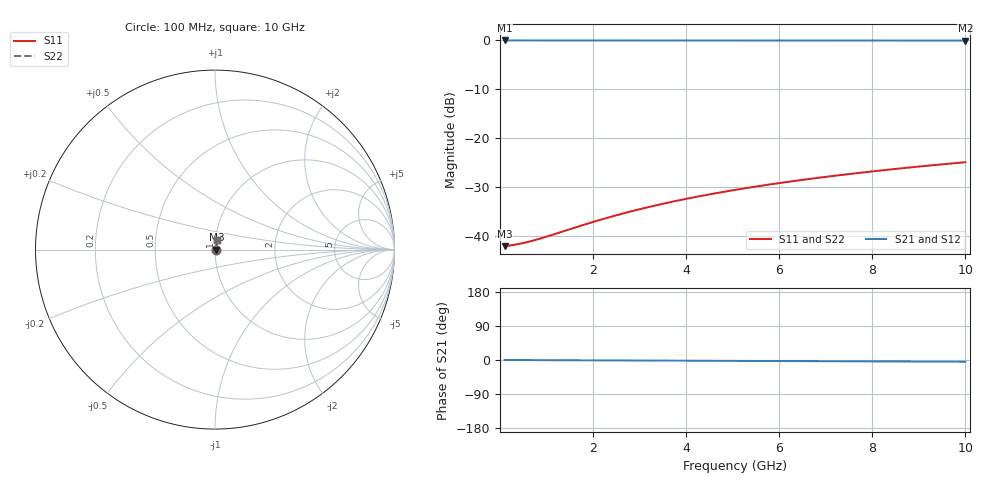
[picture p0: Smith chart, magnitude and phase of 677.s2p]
# Hz S RI R 50.00
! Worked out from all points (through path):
!   100 points, 100 MHz to 10 GHz, reference 50 ohm
!   highest |S21| = -0.07 dB at 100 MHz (marker M1); lowest = -0.1 dB at 10 GHz (marker M2)
!   lowest |S11| = -42.1 dB at 100 MHz (marker M3), VSWR 1.02, Z = 50.8 + j0.0564 ohm
!   |S11| at or under -10 dB: start of sweep to end of sweep
!   |S22| runs from -42.1 to -24.9 dB; largest |S21 - S12| = 0
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1e8  0.00786 0.000556  0.9921 -0.000796  0.9921 -0.000796  0.00786 0.000556
3e8  0.00796 0.00167  0.992 -0.00239  0.992 -0.00239  0.00796 0.00167
4e8  0.00799 0.00222  0.992 -0.00318  0.992 -0.00318  0.00799 0.00222
5e8  0.00802 0.00278  0.992 -0.00398  0.992 -0.00398  0.00802 0.00278
7e8  0.00807 0.00389  0.9919 -0.00557  0.9919 -0.00557  0.00807 0.00389
1e9  0.00815 0.00555  0.9918 -0.00795  0.9918 -0.00795  0.00815 0.00555
1.8e9  0.00834 0.00999  0.9916 -0.0143  0.9916 -0.0143  0.00834 0.00999
2.2e9  0.00845 0.0122  0.9915 -0.0175  0.9915 -0.0175  0.00845 0.0122
2.6e9  0.00857 0.0144  0.9914 -0.0207  0.9914 -0.0207  0.00857 0.0144
3e9  0.0087 0.0166  0.9913 -0.0238  0.9913 -0.0238  0.0087 0.0166
3.4e9  0.00884 0.0189  0.9911 -0.027  0.9911 -0.027  0.00884 0.0189
3.8e9  0.00899 0.0211  0.991 -0.0302  0.991 -0.0302  0.00899 0.0211
4.2e9  0.00916 0.0233  0.9908 -0.0334  0.9908 -0.0334  0.00916 0.0233
4.6e9  0.00934 0.0255  0.9906 -0.0365  0.9906 -0.0365  0.00934 0.0255
5.1e9  0.00958 0.0283  0.9903 -0.0405  0.9903 -0.0405  0.00958 0.0283
5.5e9  0.00979 0.0305  0.9901 -0.0437  0.9901 -0.0437  0.00979 0.0305
5.9e9  0.01 0.0327  0.9899 -0.0468  0.9899 -0.0468  0.01 0.0327
6.7e9  0.0105 0.0371  0.9894 -0.0532  0.9894 -0.0532  0.0105 0.0371
7.5e9  0.011 0.0415  0.9888 -0.0595  0.9888 -0.0595  0.011 0.0415
8.4e9  0.0117 0.0464  0.9881 -0.0666  0.9881 -0.0666  0.0117 0.0464
9.2e9  0.0124 0.0508  0.9874 -0.0729  0.9874 -0.0729  0.0124 0.0508
1e10  0.0131 0.0552  0.9866 -0.0792  0.9866 -0.0792  0.0131 0.0552
